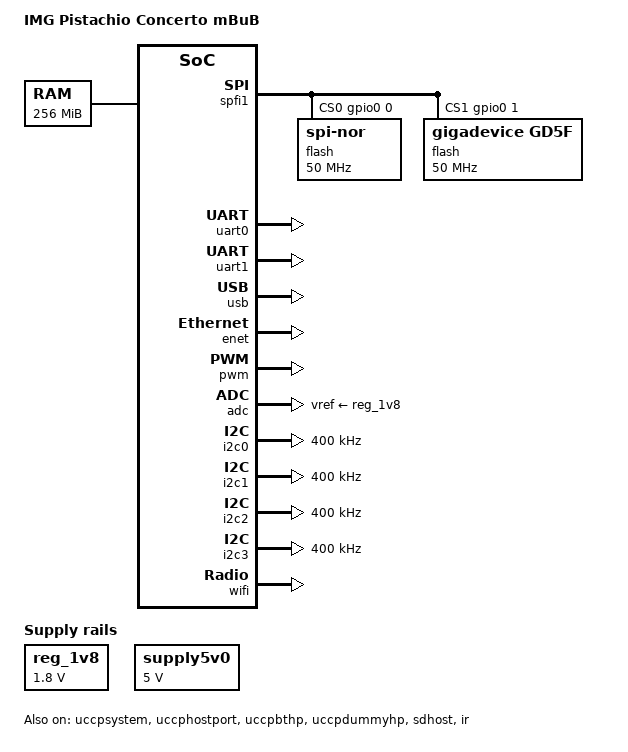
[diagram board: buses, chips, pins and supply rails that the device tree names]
/*
 * Copyright (C) 2015 Imagination Technologies Ltd.
 * Copyright (C) 2015 Google, Inc.
 *
 * This program is free software; you can redistribute it and/or modify
 * it under the terms of the GNU General Public License version 2 as
 * published by the Free Software Foundation.
 */

/dts-v1/;

#include "pistachio.dtsi"
#include <dt-bindings/sound/pistachio-bub-audio.h>

/ {
	model = "IMG Pistachio Concerto mBuB";
	compatible = "img,pistachio-bub", "img,pistachio";

	aliases {
		console ="/uart@18101500";
		serial0 = &uart0;
		serial1 = &uart1;
		ethernet0 = &enet;
	};

	chosen {
		bootargs = "console=ttyS1,115200n8 earlycon=uart8250,mmio32,0x18101500,115200 root=/dev/sda1 rootwait ro";
		stdout-path = &uart1;
	};

	memory {
		device_type = "memory";
		reg =  <0x00000000 0x10000000>;
	};

	reg_1v8: fixed-regulator {
		compatible = "regulator-fixed";
		regulator-name = "aux_adc_vref";
		regulator-min-microvolt = <1800000>;
		regulator-max-microvolt = <1800000>;
		regulator-boot-on;
	};

	supply5v0: supply5v0@0 {
		compatible = "regulator-fixed";
		regulator-name = "5V-supply";
		regulator-min-microvolt = <5000000>;
		regulator-max-microvolt = <5000000>;
	};

	pistachio_audio_card {
		compatible = "img,pistachio-bub-audio";

		clocks = <&clk_core CLK_AUDIO_PLL>,
			 <&clk_core CLK_I2S_DIV>,
			 <&clk_core CLK_AUDIO>,
			 <&event_timer>;
		clock-names = "audio_pll", "i2s_mclk", "dac_clk", "evt_clk";

		img,daughterboard = <PISTACHIO_DAUGHTERBOARD_NONE>;
		img,mclk = <PISTACHIO_MCLK_I2S>;
		img,cr-periph = <&cr_periph>;
		img,cr-top = <&cr_top>;
		img,event-timer = <&event_timer>;

		pinctrl-names = "default";
		pinctrl-0 = <&i2s_mclk_pin>;

		spdif-out {
			cpu-dai = <&spdif_out>;
		};

		spdif-in {
			cpu-dai = <&spdif_in>;
		};

		parallel-out {
			cpu-dai = <&parallel_out>;
		};

		i2s-out {
			cpu-dai = <&i2s_out>;
			cpu-format = "i2s";
			clock-master = <&i2s_out>;
		};

		i2s-in {
			cpu-dai = <&i2s_in>;
			cpu-format = "i2s";
		};
	};

};

&spfi1 {
	status = "okay";

	pinctrl-0 = <&spim1_pins>, <&spim1_quad_pins>;
	pinctrl-names = "default";
	cs-gpios = <&gpio0 0 GPIO_ACTIVE_HIGH>, <&gpio0 1 GPIO_ACTIVE_HIGH>;

	flash@0 {
		compatible = "jedec,spi-nor";
		reg = <0>;
		spi-max-frequency = <50000000>;
	};

	flash@1 {
		compatible = "gigadevice,gd5f";
		reg = <1>;
		spi-max-frequency = <50000000>;
		nand-on-flash-bbt;
		#address-cells = <1>;
		#size-cells = <1>;
	};
};

&uccpsystem {
	status = "okay";
};

&uccphostport {
	status = "okay";
};

&uccpbthp {
	status = "okay";
};

&uccpdummyhp {
	status = "okay";
};

&uart0 {
	pinctrl-0 = <&uart0_pins>, <&uart0_rts_cts_pins>;
	pinctrl-names = "default";

	status = "okay";
};

&uart1 {
	status = "okay";
};

&usb {
	status = "okay";
};

&enet {
	status = "okay";

	mac-address = [0123456789AB];
};

&sdhost {
	status = "okay";

	bus-width = <4>;
};

&ir {
	status = "okay";
};

&pwm {
	status = "okay";

	pinctrl-0 = <&pwmpdm0_pin>, <&pwmpdm1_pin>, <&pwmpdm2_pin>,
		    <&pwmpdm3_pin>;
	pinctrl-names = "default";
};

&adc {
	status = "okay";
	vref-supply = <&reg_1v8>;
};

&i2c0 {
	status = "okay";
	clock-frequency = <400000>;
};

&i2c1 {
	status = "okay";
	clock-frequency = <400000>;
};

&i2c2 {
	status = "okay";
	clock-frequency = <400000>;
};

&i2c3 {
	status = "okay";
	clock-frequency = <400000>;
};

&wifi {
       status = "okay";
       mac-address0 = [0123456789AC];
       mac-address1 = [0123456789AD];
       rf-params = [1E00000000002426292A2C2E3237393F454A52576066000000002B2C3033373A3D44474D51575A61656B6F000000002B2C3033373A3D44474D51575A61656B6F000000002B2C3033373A3D44474D51575A61656B6F000000002B2C3033373A3D44474D51575A61656B6F00000000002426292A2C2E3237393F454A52576066000000002B2C3033373A3D44474D51575A61656B6F000000002B2C3033373A3D44474D51575A61656B6F000000002B2C3033373A3D44474D51575A61656B6F000000002B2C3033373A3D44474D51575A61656B6F0808080808080808080808080808080808080808080808080808080808080808080808080808080808080808080808080808080808080808080808080808080808080808080808080808080808080808080808080808080808080808080808080808080808080808080808080808080808080808080808080808080808080808080808080808080808080808080808080808080808080808080808080808];
       num_streams = [02];
};

&i2s_out {
	status = "okay";
};

&i2s_in {
	status = "okay";
};

&spdif_out {
	status = "okay";
};

&spdif_in {
	status = "okay";
};

&parallel_out {
	status = "okay";
};

